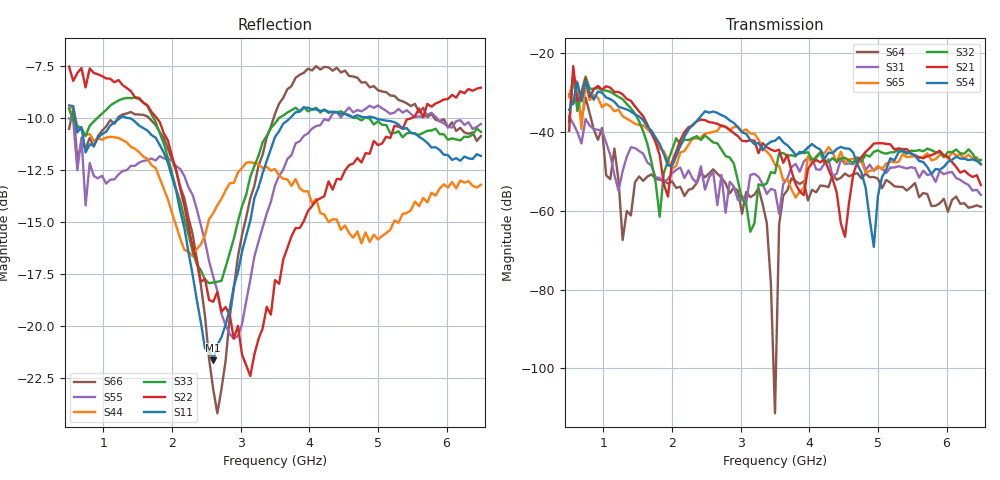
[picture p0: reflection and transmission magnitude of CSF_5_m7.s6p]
!Keysight Technologies,M9804A,MY58100912,A.14.10.03
!Date: Thursday, April 27, 2023 10:28:33
!Correction: S11(C  6-Port  )
!S12(C  6-Port  )
!S13(C  6-Port  )
!S14(C  6-Port  )
!S15(C  6-Port  )
!S16(C  6-Port  )
!S21(C  6-Port  )
!S22(C  6-Port  )
!S23(C  6-Port  )
!S24(C  6-Port  )
!S25(C  6-Port  )
!S26(C  6-Port  )
!S31(C  6-Port  )
!S32(C  6-Port  )
!S33(C  6-Port  )
!S34(C  6-Port  )
!S35(C  6-Port  )
!S36(C  6-Port  )
!S41(C  6-Port  )
!S42(C  6-Port  )
!S43(C  6-Port  )
!S44(C  6-Port  )
!S45(C  6-Port  )
!S46(C  6-Port  )
!S51(C  6-Port  )
!S52(C  6-Port  )
!S53(C  6-Port  )
!S54(C  6-Port  )
!S55(C  6-Port  )
!S56(C  6-Port  )
!S61(C  6-Port  )
!S62(C  6-Port  )
!S63(C  6-Port  )
!S64(C  6-Port  )
!S65(C  6-Port  )
!S66(C  6-Port  )
!S6P File: Measurement: :
# Hz S  RI  R 50
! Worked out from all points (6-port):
!   101 points, 500 MHz to 6.5 GHz, reference 50 ohm
!   strongest paths, dB at 500 MHz, 2 GHz, 3.5 GHz, 5 GHz, 6.5 GHz:
!     S54: -34.3, -48.6, -42.2, -56.1, -48.1
!     S21: -39.7, -47.6, -44.8, -42.8, -53.5
!     S32: -37.5, -44.5, -50.4, -44.6, -47.0
!     S65: -31.2, -49.3, -48.3, -48.6, -48.2
!     S31: -36.1, -50.4, -54.8, -49.0, -55.9
!     S64: -30.4, -52.5, -111.4, -51.8, -59.0
!   lowest |S11| = -21.6 dB at 2.6 GHz (marker M1), VSWR 1.18, Z = 42.6 + j2.02 ohm
!   |S11| at or under -10 dB: 587.8 MHz to 1.238 GHz (650.1 MHz wide, 71.2 % of centre); 1.388 GHz to 3.716 GHz (2.328 GHz wide, 91.2 % of centre); 4.97 GHz to end of sweep
